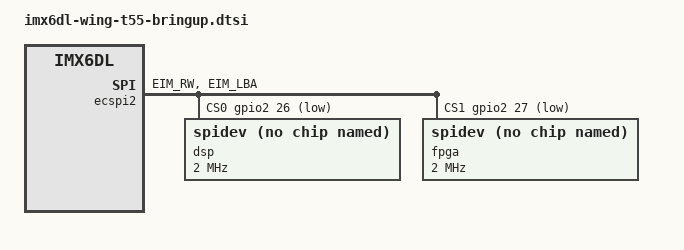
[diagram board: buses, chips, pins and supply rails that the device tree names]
/* Only the manual T55 image uses the FPGA's two active-low GPIO selects. */
&ecspi2 {
	pinctrl-0 = <&pinctrl_ecspi2 &pinctrl_t55_cs>;
	cs-gpios = <&gpio2 26 GPIO_ACTIVE_LOW>, <&gpio2 27 GPIO_ACTIVE_LOW>;
	/delete-node/ fpga@0;

	dsp@0 {
		compatible = "rohm,dh2228fv"; /* Linux 6.6 spidev binding */
		reg = <0>;
		spi-max-frequency = <2000000>;
		spi-cs-setup-delay-ns = <300>;
		spi-cs-hold-delay-ns = <300>;
		spi-cs-inactive-delay-ns = <300>;
	};

	fpga@1 {
		compatible = "rohm,dh2228fv";
		reg = <1>;
		spi-max-frequency = <2000000>;
		spi-cs-setup-delay-ns = <300>;
		spi-cs-hold-delay-ns = <300>;
		spi-cs-inactive-delay-ns = <300>;
	};
};

&iomuxc {
	pinctrl_t55_cs: t55csgrp {
		fsl,pins = <
			MX6QDL_PAD_EIM_RW__GPIO2_IO26  0x1b0b0 /* SS0 / J2 */
			MX6QDL_PAD_EIM_LBA__GPIO2_IO27 0x1b0b0 /* SS1 / V6 */
		>;
	};
};

&gpio2 {
	gpio-line-names = "", "", "", "", "", "", "", "",
			  "", "", "", "", "", "", "", "", "", "T55_CRESET_N";
};

&gpio4 {
	gpio-line-names = "", "", "", "", "", "", "", "",
			  "", "", "", "", "", "", "", "",
			  "", "", "", "", "", "", "", "", "", "", "T55_CDONE";
};
